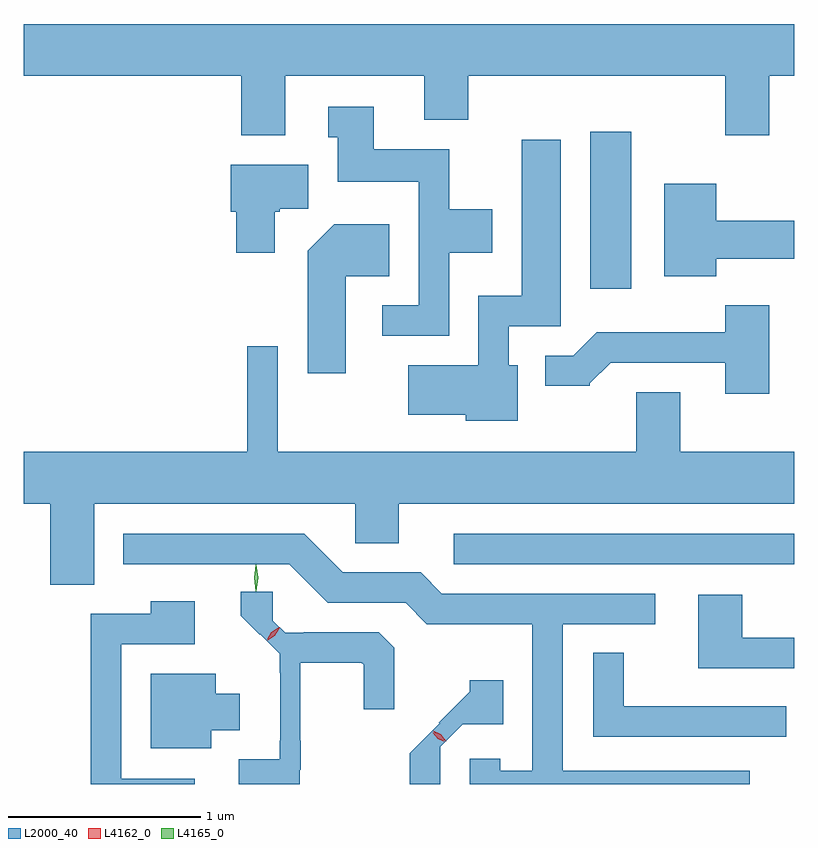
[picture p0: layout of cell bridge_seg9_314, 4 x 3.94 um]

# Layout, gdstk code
import gdstk
lib = gdstk.Library(unit=1e-6, precision=1e-09)
def R(c, l, rs):  # rectangles x0, y0, x1, y1
    for r in rs: c.add(gdstk.rectangle(r[:2], r[2:], *l))
def P(c, l, *ps):  # polygons
    for p in ps: c.add(gdstk.Polygon(p, *l))
L2000_40 = (2000, 40)
L4162_0 = (4162, 0)
L4165_0 = (4165, 0)

bridge_seg9_314 = lib.new_cell('bridge_seg9_314')
R(bridge_seg9_314, L2000_40, [(858.003,2051.441,859.771,2051.599), (858.711,2052.871,858.924,2053.684)])
P(bridge_seg9_314, L2000_40, [(857.129,2053.976),(857.851,2053.976),(857.851,2053.746),(858.079,2053.746),(858.079,2053.976),(859.411,2053.976),(859.411,2053.666),(859.639,2053.666),(859.639,2053.976),(859.771,2053.976),(859.771,2054.244),(855.771,2054.244),(855.771,2053.976),(856.901,2053.976),(856.901,2053.666),(857.129,2053.666)],
  [(857.979,2053.056),(858.204,2053.056),(858.204,2053.284),(857.979,2053.284),(857.979,2053.594),(857.589,2053.594),(857.589,2053.814),(857.353,2053.814),(857.353,2053.656),(857.401,2053.656),(857.401,2053.426),(857.821,2053.426),(857.821,2052.784),(857.633,2052.784),(857.633,2052.626),(857.979,2052.626)],
  [(858.334,2052.474),(858.289,2052.474),(858.289,2052.676),(858.559,2052.676),(858.559,2053.644),(858.356,2053.644),(858.356,2052.834),(858.131,2052.834),(858.131,2052.474),(857.766,2052.474),(857.766,2052.216),(858.066,2052.216),(858.066,2052.186),(858.334,2052.186)],
  [(857.074,2053.271),(857.1,2053.271),(857.1,2053.286),(857.249,2053.286),(857.249,2053.514),(856.846,2053.514),(856.846,2053.271),(856.876,2053.271),(856.876,2053.056),(857.074,2053.056)],
  [(859.364,2053.026),(859.771,2053.026),(859.771,2053.224),(859.364,2053.224),(859.364,2053.414),(859.096,2053.414),(859.096,2052.936),(859.364,2052.936)],
  [(857.444,2052.936),(857.669,2052.936),(857.669,2053.204),(857.384,2053.204),(857.246,2053.067),(857.246,2052.431),(857.444,2052.431)],
  [(859.639,2052.784),(859.411,2052.784),(859.411,2052.644),(858.744,2052.644),(858.624,2052.524),(858.478,2052.524),(858.478,2052.366),(858.71,2052.366),(858.71,2052.38),(858.817,2052.486),(859.411,2052.486),(859.411,2052.326),(859.639,2052.326)],
  [(856.139,2051.756),(857.491,2051.756),(857.491,2051.551),(857.719,2051.551),(857.719,2051.756),(859.771,2051.756),(859.771,2052.024),(859.179,2052.024),(859.179,2052.334),(858.951,2052.334),(858.951,2052.024),(857.089,2052.024),(857.089,2052.573),(856.931,2052.573),(856.931,2052.024),(855.771,2052.024),(855.771,2051.756),(855.911,2051.756),(855.911,2051.336),(856.139,2051.336)],
  [(859.538,2050.369),(858.569,2050.369),(858.569,2051.131),(859.048,2051.131),(859.048,2051.289),(857.942,2051.289),(857.832,2051.399),(857.427,2051.399),(857.227,2051.599),(856.288,2051.599),(856.288,2051.441),(857.149,2051.441),(857.349,2051.241),(857.754,2051.241),(857.864,2051.131),(858.411,2051.131),(858.411,2050.369),(858.244,2050.369),(858.244,2050.433),(858.086,2050.433),(858.086,2050.301),(859.538,2050.301)],
  [(857.204,2050.375),(857.209,2050.375),(857.209,2050.525),(857.207,2050.525),(857.207,2050.931),(857.524,2050.931),(857.536,2050.919),(857.536,2050.688),(857.694,2050.688),(857.694,2051.009),(857.614,2051.089),(857.225,2051.089),(857.225,2051.085),(857.128,2051.085),(857.065,2051.148),(857.065,2051.298),(856.898,2051.298),(856.898,2051.174),(856.996,2051.076),(856.999,2051.079),(857.101,2050.977),(857.101,2050.878),(857.103,2050.878),(857.103,2050.525),(857.101,2050.525),(857.101,2050.429),(856.888,2050.429),(856.888,2050.301),(857.204,2050.301)],
  [(859.771,2051.059),(859.499,2051.059),(859.499,2051.284),(859.271,2051.284),(859.271,2050.901),(859.771,2050.901)],
  [(856.659,2050.329),(856.279,2050.329),(856.279,2051.026),(856.659,2051.026),(856.659,2051.249),(856.431,2051.249),(856.431,2051.184),(856.121,2051.184),(856.121,2050.301),(856.659,2050.301)],
  [(859.728,2050.704),(858.884,2050.704),(858.884,2050.983),(858.726,2050.983),(858.726,2050.546),(859.728,2050.546)],
  [(856.744,2050.581),(856.894,2050.581),(856.894,2050.769),(856.769,2050.769),(856.769,2050.874),(856.431,2050.874),(856.431,2050.486),(856.744,2050.486)],
  [(857.934,2050.494),(858.05,2050.61),(858.259,2050.61),(858.259,2050.839),(858.085,2050.839),(858.085,2050.779),(857.926,2050.619),(857.93,2050.615),(857.776,2050.461),(857.776,2050.301),(857.934,2050.301)])
P(bridge_seg9_314, L4162_0, [(857.964,2050.523),(857.924,2050.542),(857.896,2050.577),(857.896,2050.577),(857.897,2050.577),(857.937,2050.558),(857.965,2050.524),(857.965,2050.523)],
  [(857.035,2051.043),(857.035,2051.044),(857.06,2051.085),(857.099,2051.113),(857.1,2051.113),(857.1,2051.112),(857.075,2051.071),(857.036,2051.043)],
  [(857.035,2051.051),(857.035,2051.052),(857.057,2051.088),(857.092,2051.111),(857.093,2051.111),(857.093,2051.111),(857.071,2051.074),(857.036,2051.051)],
  [(857.954,2050.519),(857.919,2050.535),(857.895,2050.566),(857.895,2050.567),(857.896,2050.567),(857.931,2050.551),(857.954,2050.52),(857.954,2050.519)])
P(bridge_seg9_314, L4165_0, [(856.978,2051.3),(856.977,2051.301),(856.968,2051.37),(856.977,2051.439),(856.978,2051.439),(856.978,2051.439),(856.988,2051.37),(856.978,2051.301)],
  [(856.978,2051.303),(856.977,2051.304),(856.968,2051.37),(856.977,2051.436),(856.978,2051.437),(856.978,2051.436),(856.988,2051.37),(856.978,2051.304)])

lib.write_gds('bridge_seg9_314.gds')
